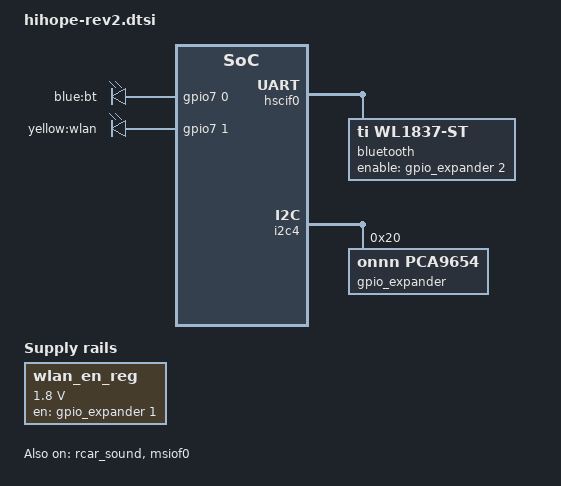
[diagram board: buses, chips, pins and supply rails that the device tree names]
// SPDX-License-Identifier: GPL-2.0
/*
 * Device Tree Source for the HiHope RZ/G2[MN] main board Rev.2.0 common
 * parts
 *
 * Copyright (C) 2020 Renesas Electronics Corp.
 */

#include <dt-bindings/gpio/gpio.h>
#include "hihope-common.dtsi"

/ {
	aliases {
		spi0 = &msiof0;
	};

	leds {
		compatible = "gpio-leds";

		bt_active_led {
			label = "blue:bt";
			gpios = <&gpio7  0 GPIO_ACTIVE_HIGH>;
			linux,default-trigger = "hci0-power";
			default-state = "off";
		};

		wlan_active_led {
			label = "yellow:wlan";
			gpios = <&gpio7  1 GPIO_ACTIVE_HIGH>;
			linux,default-trigger = "phy0tx";
			default-state = "off";
		};
	};

	wlan_en_reg: regulator-wlan_en {
		compatible = "regulator-fixed";
		regulator-name = "wlan-en-regulator";
		regulator-min-microvolt = <1800000>;
		regulator-max-microvolt = <1800000>;
		startup-delay-us = <70000>;

		gpio = <&gpio_expander 1 GPIO_ACTIVE_HIGH>;
		enable-active-high;
	};
};

&hscif0 {
	bluetooth {
		compatible = "ti,wl1837-st";
		enable-gpios = <&gpio_expander 2 GPIO_ACTIVE_HIGH>;
	};
};

&i2c4 {
	gpio_expander: gpio@20 {
		compatible = "onnn,pca9654";
		reg = <0x20>;
		gpio-controller;
		#gpio-cells = <2>;
	};
};

&pfc {
	sound_clk_pins: sound_clk {
		groups = "audio_clk_a_a";
		function = "audio_clk";
	};

	msiof0_pins: spi0 {
		groups = "msiof0_clk", "msiof0_sync",
			 "msiof0_rxd", "msiof0_txd";
		function = "msiof0";
	};
};

&rcar_sound {
	pinctrl-0 = <&sound_clk_pins>;
	pinctrl-names = "default";

	status = "okay";

	/* Single DAI */
	#sound-dai-cells = <0>;

	rsnd_port: port {
		rsnd_endpoint: endpoint {
			remote-endpoint = <&dw_hdmi0_snd_in>;

			dai-format = "i2s";
			bitclock-master = <&rsnd_endpoint>;
			frame-master = <&rsnd_endpoint>;

			playback = <&ssi2>;
		};
	};
};

&msiof0 {
	pinctrl-0 = <&msiof0_pins>;
	pinctrl-names = "default";

	status = "okay";
};
